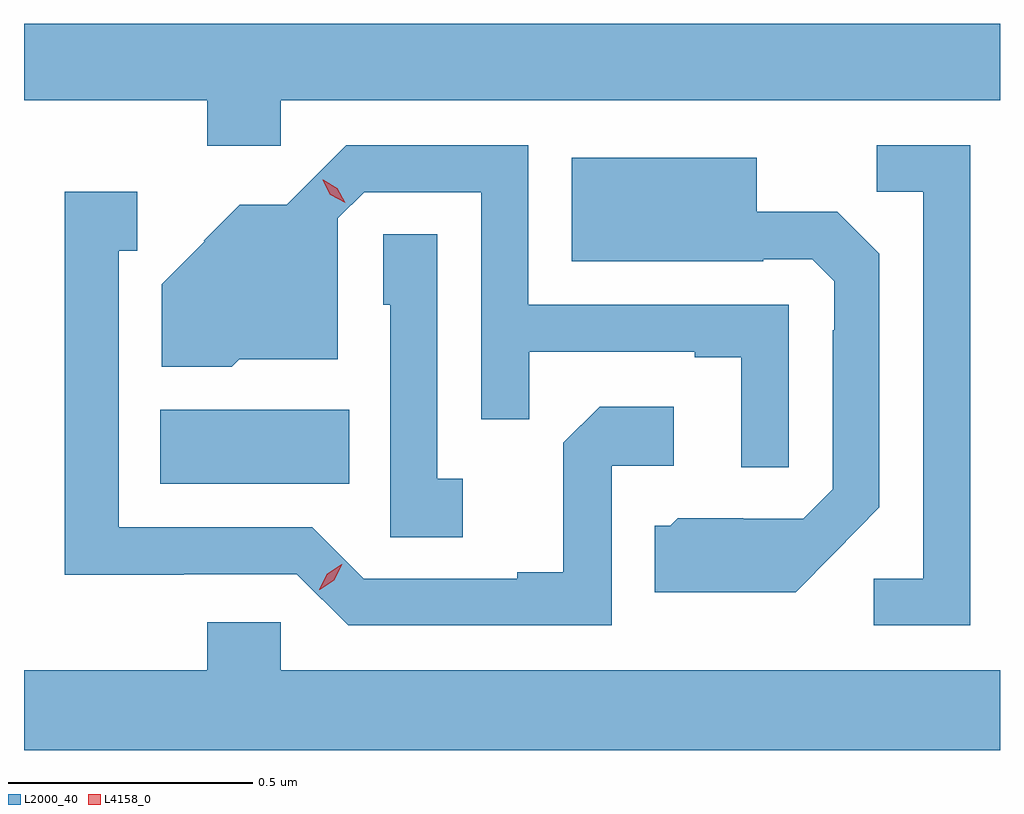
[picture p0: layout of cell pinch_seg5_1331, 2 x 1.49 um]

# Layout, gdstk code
import gdstk
lib = gdstk.Library(unit=1e-6, precision=1e-09)
def R(c, l, rs):  # rectangles x0, y0, x1, y1
    for r in rs: c.add(gdstk.rectangle(r[:2], r[2:], *l))
def P(c, l, *ps):  # polygons
    for p in ps: c.add(gdstk.Polygon(p, *l))
L2000_40 = (2000, 40)
L4158_0 = (4158, 0)

pinch_seg5_1331 = lib.new_cell('pinch_seg5_1331')
R(pinch_seg5_1331, L2000_40, [(376.463,854.642,376.85,854.794)])
P(pinch_seg5_1331, L2000_40, [(376.71,855.428),(378.184,855.428),(378.184,855.585),(376.184,855.585),(376.184,855.428),(376.559,855.428),(376.559,855.335),(376.71,855.335)],
  [(377.751,855.009),(377.217,855.009),(377.217,855.336),(376.844,855.336),(376.722,855.214),(376.626,855.214),(376.552,855.14),(376.554,855.139),(376.466,855.051),(376.466,854.882),(376.61,854.882),(376.625,854.897),(376.827,854.897),(376.827,855.186),(376.881,855.24),(377.121,855.24),(377.121,854.774),(377.219,854.774),(377.219,854.913),(377.558,854.913),(377.558,854.901),(377.654,854.901),(377.654,854.676),(377.751,854.676)],
  [(378.123,855.336),(377.931,855.336),(377.931,855.241),(378.027,855.241),(378.027,854.448),(377.925,854.448),(377.925,854.352),(378.123,854.352)],
  [(377.845,854.501),(377.937,854.594),(377.937,855.114),(377.851,855.2),(377.686,855.2),(377.686,855.31),(377.306,855.31),(377.306,855.098),(377.699,855.098),(377.699,855.102),(377.799,855.102),(377.844,855.057),(377.844,854.957),(377.841,854.957),(377.841,854.631),(377.781,854.571),(377.658,854.571),(377.658,854.572),(377.524,854.572),(377.508,854.556),(377.477,854.556),(377.477,854.42),(377.765,854.42)],
  [(377.388,854.679),(377.515,854.679),(377.515,854.8),(377.364,854.8),(377.289,854.726),(377.289,854.461),(377.195,854.461),(377.195,854.448),(376.88,854.448),(376.775,854.553),(376.378,854.553),(376.378,855.12),(376.416,855.12),(376.416,855.241),(376.267,855.241),(376.267,854.456),(376.511,854.456),(376.511,854.457),(376.743,854.457),(376.848,854.352),(377.388,854.352)],
  [(377.083,854.652),(377.031,854.652),(377.031,855.154),(376.92,855.154),(376.92,855.009),(376.935,855.009),(376.935,854.533),(377.083,854.533)],
  [(378.184,854.26),(376.71,854.26),(376.71,854.358),(376.559,854.358),(376.559,854.26),(376.184,854.26),(376.184,854.096),(378.184,854.096)])
P(pinch_seg5_1331, L4158_0, [(376.842,855.218),(376.812,855.234),(376.796,855.264),(376.796,855.265),(376.797,855.265),(376.826,855.248),(376.842,855.218),(376.842,855.218)],
  [(376.789,854.425),(376.789,854.426),(376.805,854.458),(376.835,854.477),(376.836,854.477),(376.836,854.477),(376.82,854.445),(376.79,854.425)])

lib.write_gds('pinch_seg5_1331.gds')
